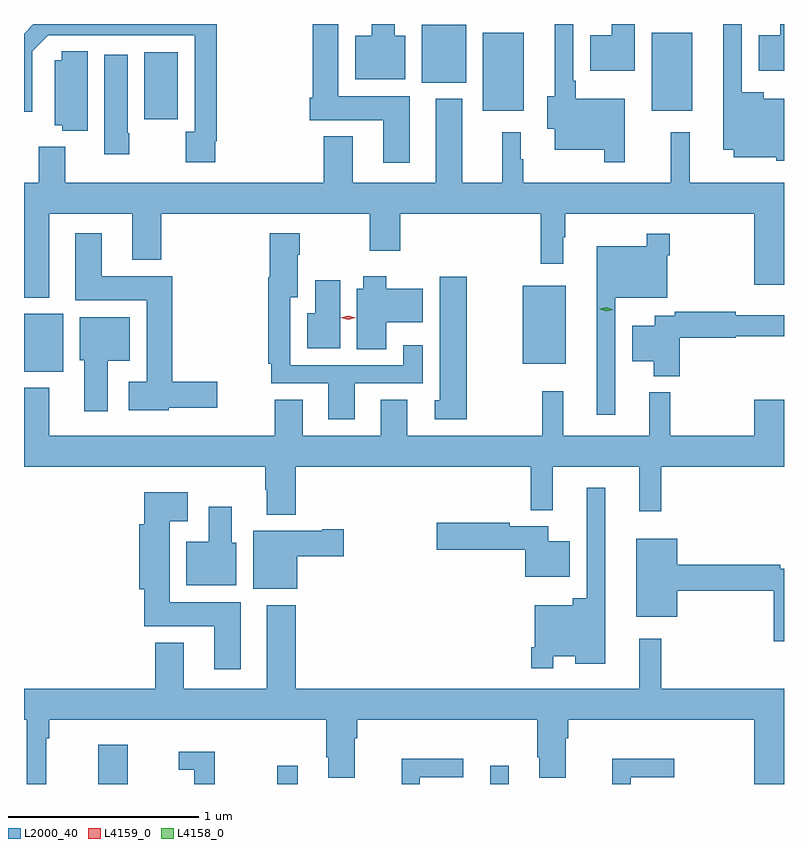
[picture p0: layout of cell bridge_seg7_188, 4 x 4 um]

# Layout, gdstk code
import gdstk
lib = gdstk.Library(unit=1e-6, precision=1e-09)
def R(c, l, rs):  # rectangles x0, y0, x1, y1
    for r in rs: c.add(gdstk.rectangle(r[:2], r[2:], *l))
def P(c, l, *ps):  # polygons
    for p in ps: c.add(gdstk.Polygon(p, *l))
L2000_40 = (2000, 40)
L4158_0 = (4158, 0)
L4159_0 = (4159, 0)

bridge_seg7_188 = lib.new_cell('bridge_seg7_188')
R(bridge_seg7_188, L2000_40, [(461.255,1001.611,461.41,1001.818), (462.198,1001.611,462.307,1001.707), (463.32,1001.611,463.417,1001.707), (460.865,1003.781,461.071,1004.086), (463.49,1003.823,463.717,1004.233), (463.28,1005.155,463.495,1005.565), (464.168,1005.155,464.383,1005.565), (462.959,1005.302,463.192,1005.607)])
P(bridge_seg7_188, L2000_40, [(462.895,1005.232),(462.52,1005.232),(462.52,1005.611),(462.386,1005.611),(462.386,1005.222),(462.368,1005.222),(462.368,1005.104),(462.755,1005.104),(462.755,1004.88),(462.895,1004.88)],
  [(464.028,1005.217),(463.768,1005.217),(463.768,1005.313),(463.755,1005.313),(463.755,1005.611),(463.658,1005.611),(463.658,1005.23),(463.619,1005.23),(463.619,1005.059),(463.658,1005.059),(463.658,1004.948),(463.92,1004.948),(463.92,1004.883),(464.028,1004.883)],
  [(461.872,1004.995),(461.879,1004.995),(461.879,1005.611),(460.914,1005.611),(460.865,1005.561),(460.865,1005.15),(460.908,1005.15),(460.908,1005.468),(460.992,1005.552),(461.763,1005.552),(461.763,1005.043),(461.717,1005.043),(461.717,1004.883),(461.872,1004.883)],
  [(464.865,1005.217),(464.758,1005.217),(464.758,1005.253),(464.643,1005.253),(464.643,1005.611),(464.546,1005.611),(464.546,1004.948),(464.6,1004.948),(464.6,1004.909),(464.823,1004.909),(464.823,1004.891),(464.865,1004.891)],
  [(464.865,1005.611),(464.846,1005.611),(464.846,1005.553),(464.732,1005.553),(464.732,1005.365),(464.865,1005.365)],
  [(462.871,1005.55),(462.817,1005.55),(462.817,1005.611),(462.695,1005.611),(462.695,1005.55),(462.608,1005.55),(462.608,1005.32),(462.871,1005.32)],
  [(464.08,1005.611),(463.958,1005.611),(463.958,1005.553),(463.844,1005.553),(463.844,1005.365),(464.08,1005.365)],
  [(461.2,1005.467),(461.064,1005.467),(461.064,1005.42),(461.027,1005.42),(461.027,1005.077),(461.067,1005.077),(461.067,1005.05),(461.2,1005.05)],
  [(461.673,1005.214),(461.674,1005.214),(461.674,1005.463),(461.498,1005.463),(461.498,1005.111),(461.673,1005.111)],
  [(461.418,1005.037),(461.41,1005.037),(461.41,1005.448),(461.288,1005.448),(461.288,1004.925),(461.418,1004.925)],
  [(460.999,1004.612),(461.435,1004.612),(461.435,1004.369),(461.588,1004.369),(461.588,1004.612),(462.685,1004.612),(462.685,1004.418),(462.845,1004.418),(462.845,1004.612),(463.585,1004.612),(463.585,1004.349),(463.702,1004.349),(463.702,1004.489),(463.714,1004.489),(463.714,1004.612),(464.708,1004.612),(464.708,1004.238),(464.865,1004.238),(464.865,1004.776),(464.37,1004.776),(464.37,1005.04),(464.269,1005.04),(464.269,1004.776),(463.492,1004.776),(463.492,1004.9),(463.48,1004.9),(463.48,1005.04),(463.382,1005.04),(463.382,1004.776),(463.171,1004.776),(463.171,1005.217),(463.031,1005.217),(463.031,1004.776),(462.595,1004.776),(462.595,1005.019),(462.443,1005.019),(462.443,1004.776),(461.083,1004.776),(461.083,1004.965),(460.943,1004.965),(460.943,1004.776),(460.865,1004.776),(460.865,1004.171),(460.999,1004.171)],
  [(462.607,1003.719),(462.964,1003.719),(462.964,1003.921),(462.86,1003.921),(462.86,1003.815),(462.267,1003.815),(462.267,1004.174),(462.307,1004.174),(462.307,1004.396),(462.315,1004.396),(462.315,1004.509),(462.158,1004.509),(462.158,1004.278),(462.151,1004.278),(462.151,1003.822),(462.166,1003.822),(462.166,1003.719),(462.467,1003.719),(462.467,1003.53),(462.607,1003.53)],
  [(461.628,1003.592),(461.881,1003.592),(461.881,1003.727),(461.645,1003.727),(461.645,1004.284),(461.275,1004.284),(461.275,1004.509),(461.135,1004.509),(461.135,1004.156),(461.51,1004.156),(461.51,1003.729),(461.415,1003.729),(461.415,1003.577),(461.628,1003.577)],
  [(463.977,1004.171),(464.25,1004.171),(464.25,1004.393),(464.263,1004.393),(464.263,1004.506),(464.142,1004.506),(464.142,1004.44),(463.88,1004.44),(463.88,1003.554),(463.977,1003.554)],
  [(462.772,1004.042),(462.964,1004.042),(462.964,1004.218),(462.772,1004.218),(462.772,1004.284),(462.65,1004.284),(462.65,1004.218),(462.617,1004.218),(462.617,1003.9),(462.772,1003.9)],
  [(463.194,1004.281),(463.052,1004.281),(463.052,1003.632),(463.028,1003.632),(463.028,1003.53),(463.194,1003.53)],
  [(462.529,1004.263),(462.398,1004.263),(462.398,1004.089),(462.356,1004.089),(462.356,1003.904),(462.529,1003.904)],
  [(464.315,1003.96),(464.61,1003.96),(464.61,1003.968),(464.865,1003.968),(464.865,1004.077),(464.612,1004.077),(464.612,1004.096),(464.29,1004.096),(464.29,1004.076),(464.186,1004.076),(464.186,1004.023),(464.066,1004.023),(464.066,1003.835),(464.18,1003.835),(464.18,1003.757),(464.315,1003.757)],
  [(461.305,1003.838),(461.422,1003.838),(461.422,1004.068),(461.159,1004.068),(461.159,1003.842),(461.183,1003.842),(461.183,1003.572),(461.305,1003.572)],
  [(464.865,1003.633),(464.708,1003.633),(464.708,1003.444),(464.266,1003.444),(464.266,1003.672),(464.156,1003.672),(464.156,1003.444),(463.703,1003.444),(463.703,1003.678),(463.593,1003.678),(463.593,1003.444),(462.883,1003.444),(462.883,1003.634),(462.743,1003.634),(462.743,1003.444),(462.331,1003.444),(462.331,1003.634),(462.184,1003.634),(462.184,1003.444),(460.999,1003.444),(460.999,1003.696),(460.865,1003.696),(460.865,1003.28),(462.136,1003.28),(462.136,1003.16),(462.143,1003.16),(462.143,1003.028),(462.296,1003.028),(462.296,1003.28),(463.531,1003.28),(463.531,1003.052),(463.649,1003.052),(463.649,1003.28),(464.102,1003.28),(464.102,1003.047),(464.219,1003.047),(464.219,1003.28),(464.865,1003.28)],
  [(463.65,1002.284),(463.766,1002.284),(463.766,1002.245),(463.924,1002.245),(463.924,1003.171),(463.827,1003.171),(463.827,1002.589),(463.754,1002.589),(463.754,1002.553),(463.554,1002.553),(463.554,1002.331),(463.534,1002.331),(463.534,1002.219),(463.65,1002.219)],
  [(462.007,1002.568),(461.632,1002.568),(461.632,1002.995),(461.728,1002.995),(461.728,1003.147),(461.498,1003.147),(461.498,1002.979),(461.471,1002.979),(461.471,1002.635),(461.498,1002.635),(461.498,1002.44),(461.867,1002.44),(461.867,1002.216),(462.007,1002.216)],
  [(461.983,1002.882),(461.959,1002.882),(461.959,1003.069),(461.837,1003.069),(461.837,1002.886),(461.72,1002.886),(461.72,1002.656),(461.983,1002.656)],
  [(463.738,1002.889),(463.624,1002.889),(463.624,1002.967),(463.422,1002.967),(463.422,1002.987),(463.038,1002.987),(463.038,1002.845),(463.502,1002.845),(463.502,1002.701),(463.738,1002.701)],
  [(462.304,1002.809),(462.547,1002.809),(462.547,1002.951),(462.434,1002.951),(462.434,1002.943),(462.071,1002.943),(462.071,1002.638),(462.304,1002.638)],
  [(464.865,1002.744),(464.846,1002.744),(464.846,1002.764),(464.302,1002.764),(464.302,1002.901),(464.087,1002.901),(464.087,1002.491),(464.302,1002.491),(464.302,1002.628),(464.81,1002.628),(464.81,1002.363),(464.865,1002.363)],
  [(462.296,1002.553),(462.143,1002.553),(462.143,1002.112),(461.707,1002.112),(461.707,1002.355),(461.555,1002.355),(461.555,1002.112),(460.865,1002.112),(460.865,1001.948),(460.88,1001.948),(460.88,1001.611),(460.982,1001.611),(460.982,1001.852),(460.997,1001.852),(460.997,1001.948),(462.455,1001.948),(462.455,1001.752),(462.467,1001.752),(462.467,1001.644),(462.607,1001.644),(462.607,1001.852),(462.62,1001.852),(462.62,1001.948),(463.565,1001.948),(463.565,1001.752),(463.577,1001.752),(463.577,1001.644),(463.717,1001.644),(463.717,1001.852),(463.73,1001.852),(463.73,1001.948),(464.708,1001.948),(464.708,1001.611),(464.865,1001.611),(464.865,1002.112),(464.219,1002.112),(464.219,1002.376),(464.102,1002.376),(464.102,1002.112),(462.296,1002.112)],
  [(461.869,1001.782),(461.679,1001.782),(461.679,1001.685),(461.76,1001.685),(461.76,1001.611),(461.869,1001.611)],
  [(462.948,1001.646),(463.177,1001.646),(463.177,1001.744),(462.852,1001.744),(462.852,1001.611),(462.948,1001.611)],
  [(464.058,1001.646),(464.287,1001.646),(464.287,1001.744),(463.962,1001.744),(463.962,1001.611),(464.058,1001.611)])
P(bridge_seg7_188, L4158_0, [(463.93,1004.1),(463.895,1004.111),(463.895,1004.111),(463.895,1004.112),(463.931,1004.12),(463.967,1004.108),(463.967,1004.108),(463.967,1004.108)])
P(bridge_seg7_188, L4159_0, [(462.572,1004.055),(462.532,1004.064),(462.532,1004.064),(462.532,1004.064),(462.572,1004.075),(462.612,1004.065),(462.612,1004.065),(462.612,1004.065)])

lib.write_gds('bridge_seg7_188.gds')
